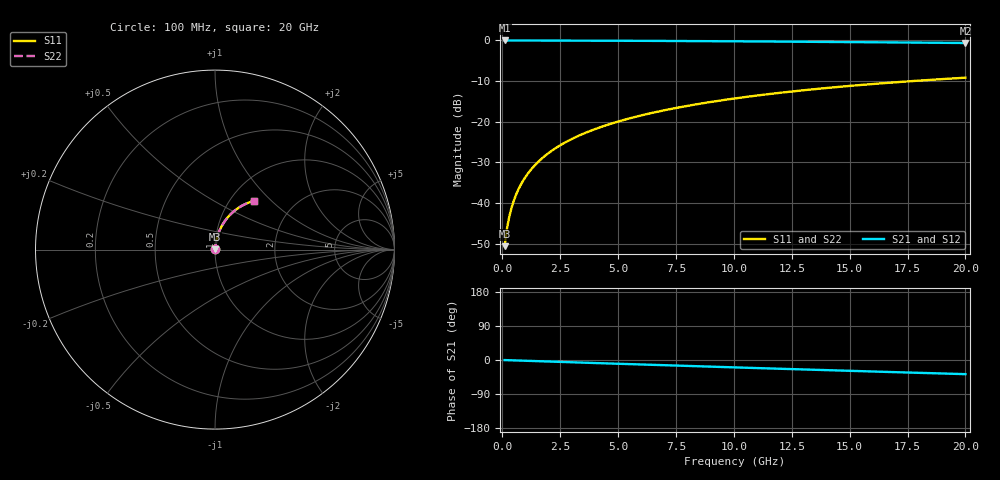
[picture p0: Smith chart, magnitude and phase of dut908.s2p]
! Touchstone file exported from HFSS 2026.1.0
!  File:  C:/ffzhzh/LocalFiles/Ansys_Project_Files/temp_train_BSMRDL_908_1783171515_55132.aedt
!  Generated:  09:26:39 PM Jul  4, 2026
!  Design:  BSMRDL
!  Project:  temp_train_BSMRDL_908_1783171515_55132
! Variables:
!  h_bsmrdl = 4.59um
!  h_ox = 20um
!  h_rdl = 5um
!  h_sub = 80um
!  h_tmrdl = 5um
!  h_tsv = 80um
!  h_via = 3um
!  l_bsmrdl = 531.68um
!  l_sub = 931.68um
!  l_tmrdl = 200um
!  m_sub = 200um
!  pitch = 53.21um
!  r_tsv = 6um
!  s_tmrdl = 10um
!  w_bsmrdl = 23.58um
!  w_sub = 500um
!  w_tmrdl = 12um
!  x_tsv_center1 = 206um
!  x_tsv_center2 = 761.26um
!  x_tsv_center3 = 973.26um
!  x_tsv_center4 = 1528.52um
!  x_tsv_center5 = 1740.52um
!  x_tsv_center6 = 2295.78um
# GHz S MA R 50.000000
! Terminal data exported
! Port[1] = BSM_RDL1_1_T1
! Port[2] = BSM_RDL1_1_T2
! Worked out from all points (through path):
!   200 points, 100 MHz to 20 GHz, reference 50 ohm
!   highest |S21| = -0.02 dB at 100 MHz (marker M1); lowest = -0.6 dB at 20 GHz (marker M2)
!   group delay of S21, straight-line fit = 5.18 ps
!   lowest |S11| = -50.6 dB at 100 MHz (marker M3), VSWR 1.01, Z = 50.2 + j0.223 ohm
!   |S11| at or under -10 dB: start of sweep to 17.73 GHz
!   |S22| runs from -50.6 to -9.2 dB; largest |S21 - S12| = 2e-15
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0.1  0.002942 49.0  0.9981 -0.2  0.9981 -0.2  0.002942 49.0
! Gamma 0 0 0 0
! Port Impedance 50 0 50 0
0.2  0.004814 64.4  0.9979 -0.4  0.9979 -0.4  0.004814 64.4
0.3  0.006771 70.9  0.9978 -0.6  0.9978 -0.6  0.006771 70.9
0.4  0.008748 74.5  0.9977 -0.8  0.9977 -0.8  0.008748 74.5
0.5  0.01074 76.8  0.9977 -1.0  0.9977 -1.0  0.01074 76.8
0.7  0.01477 79.4  0.9975 -1.4  0.9975 -1.4  0.01477 79.4
0.8  0.01679 80.2  0.9975 -1.6  0.9975 -1.6  0.01679 80.2
1  0.02085 81.2  0.9973 -2.0  0.9973 -2.0  0.02085 81.2
1.2  0.02492 81.8  0.9972 -2.4  0.9972 -2.4  0.02492 81.8
1.4  0.02899 82.0  0.997 -2.8  0.997 -2.8  0.02899 82.0
1.7  0.03508 82.1  0.9967 -3.4  0.9967 -3.4  0.03508 82.1
2  0.04115 82.0  0.9963 -4.0  0.9963 -4.0  0.04115 82.0
2.7  0.05523 81.2  0.9952 -5.4  0.9952 -5.4  0.05523 81.2
3.5  0.07113 80.0  0.9937 -7.0  0.9937 -7.0  0.07113 80.0
4.2  0.08486 78.8  0.9922 -8.4  0.9922 -8.4  0.08486 78.8
5  0.1004 77.4  0.9903 -9.9  0.9903 -9.9  0.1004 77.4
6.8  0.1344 74.2  0.9854 -13.4  0.9854 -13.4  0.1344 74.2
8.3  0.1621 71.6  0.9806 -16.2  0.9806 -16.2  0.1621 71.6
10.1  0.1942 68.3  0.9741 -19.6  0.9741 -19.6  0.1942 68.4
13.4  0.2499 62.5  0.9605 -25.7  0.9605 -25.7  0.2499 62.5
16.7  0.3012 56.8  0.9452 -31.6  0.9452 -31.6  0.3012 56.8
20  0.3476 51.2  0.9288 -37.3  0.9288 -37.3  0.3476 51.2
